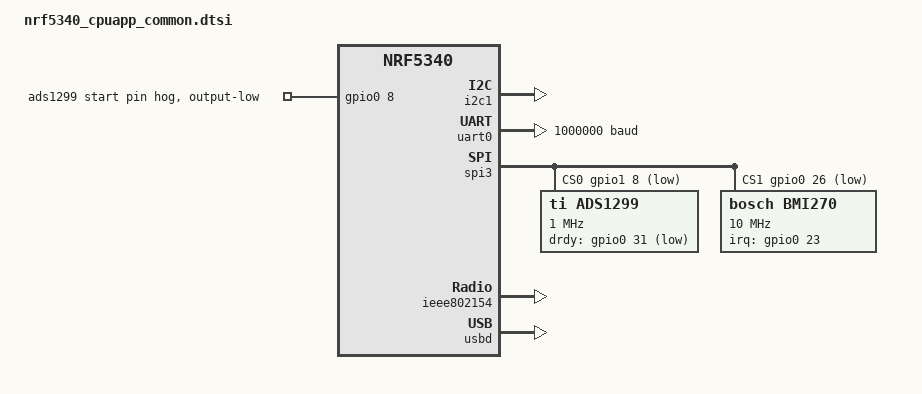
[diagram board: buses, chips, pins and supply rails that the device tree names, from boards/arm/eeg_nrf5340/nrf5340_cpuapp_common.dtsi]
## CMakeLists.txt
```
#
# Copyright (c) 2020 Nordic Semiconductor
#
# SPDX-License-Identifier: LicenseRef-Nordic-5-Clause
#

cmake_minimum_required(VERSION 3.20.0)

# Add the driver directory as a Zephyr module
list(APPEND EXTRA_ZEPHYR_MODULES ${CMAKE_CURRENT_SOURCE_DIR}/ti_ads1299_driver
     ${CMAKE_CURRENT_SOURCE_DIR}/bosch_bmi270_driver)

set(BOARD_ROOT ${CMAKE_SOURCE_DIR})
set(BOARD eeg_nrf5340_cpuapp)

find_package(Zephyr REQUIRED HINTS $ENV{ZEPHYR_BASE})
project(empty_app_core)

file(GLOB app_sources src/*.c)
target_sources(app PRIVATE ${app_sources})
```

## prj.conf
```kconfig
# Copyright (c) 2024 HHS
CONFIG_BT_HCI_IPC=y

# Logger module
CONFIG_LOG=y

# Bluetooth LE
CONFIG_BT=y
CONFIG_BT_PERIPHERAL=y
CONFIG_BT_DEVICE_NAME="EEG_test1"
CONFIG_BT_GATT_CLIENT=y
# Configure your preferred connection parameters
CONFIG_BT_PERIPHERAL_PREF_MIN_INT=800
CONFIG_BT_PERIPHERAL_PREF_MAX_INT=800
CONFIG_BT_PERIPHERAL_PREF_LATENCY=0
CONFIG_BT_PERIPHERAL_PREF_TIMEOUT=400
CONFIG_BT_GAP_AUTO_UPDATE_CONN_PARAMS=y
# Enable PHY updates.
CONFIG_BT_USER_PHY_UPDATE=y
# Update Data Length and MTU
CONFIG_BT_USER_DATA_LEN_UPDATE=y
CONFIG_BT_CTLR_DATA_LENGTH_MAX=251
CONFIG_BT_BUF_ACL_RX_SIZE=251
CONFIG_BT_BUF_ACL_TX_SIZE=251
CONFIG_BT_L2CAP_TX_MTU=247

# Increase stack size for the main thread and System Workqueue
CONFIG_SYSTEM_WORKQUEUE_STACK_SIZE=2048
CONFIG_MAIN_STACK_SIZE=2048
CONFIG_BT_RX_STACK_SIZE=2048

CONFIG_GPIO=y
CONFIG_SPI=y

# Enable the custom driver
CONFIG_TI_ADS1299_DRIVER=y

CONFIG_BOSCH_BMI270_DRIVER=y
CONFIG_BMI270_TRIGGER_OWN_THREAD=y

# Enable application defined syscalls
CONFIG_APPLICATION_DEFINED_SYSCALL=y

CONFIG_EVENTS=y

# Floating Point Unit
CONFIG_NEWLIB_LIBC=y
CONFIG_NEWLIB_LIBC_FLOAT_PRINTF=y
CONFIG_FPU=y
CONFIG_FP_HARDABI=y
CONFIG_CMSIS_DSP=y

CONFIG_RING_BUFFER=y
```

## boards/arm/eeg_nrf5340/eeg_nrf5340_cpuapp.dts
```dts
/*
 * Copyright (c) 2020 Nordic Semiconductor ASA
 *
 * SPDX-License-Identifier: Apache-2.0
 */

/dts-v1/;
#include <nordic/nrf5340_cpuapp_qkaa.dtsi>
#include "nrf5340_cpuapp_common.dtsi"

/ {
	model = "Nordic EEG NRF5340 Application";
	compatible = "nordic,eeg-nrf5340-cpuapp";

	chosen {
		zephyr,sram = &sram0_image;
		zephyr,flash = &flash0;
		zephyr,code-partition = &slot0_partition;
		zephyr,sram-secure-partition = &sram0_s;
		zephyr,sram-non-secure-partition = &sram0_ns;
	};
};
```

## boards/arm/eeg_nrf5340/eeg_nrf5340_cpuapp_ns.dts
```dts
/*
 * Copyright (c) 2020 Nordic Semiconductor ASA
 *
 * SPDX-License-Identifier: Apache-2.0
 */

/dts-v1/;
#include <nordic/nrf5340_cpuappns_qkaa.dtsi>
#include "nrf5340_cpuapp_common.dtsi"

/ {
	model = "Nordic EEG NRF5340 Application";
	compatible = "nordic,eeg-nrf5340-cpuapp";

	chosen {
		zephyr,sram = &sram0_ns;
		zephyr,flash = &flash0;
		zephyr,code-partition = &slot0_ns_partition;
	};
};
```

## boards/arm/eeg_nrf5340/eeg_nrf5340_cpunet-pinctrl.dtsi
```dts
/*
 * Copyright (c) 2022 Nordic Semiconductor
 * SPDX-License-Identifier: Apache-2.0
 */

&pinctrl {
	uart0_default: uart0_default {
		group1 {
			psels = <NRF_PSEL(UART_TX, 1, 14)>,
				    <NRF_PSEL(UART_RTS, 1, 13)>;
		};
	};

	uart0_sleep: uart0_sleep {
		group1 {
			psels = <NRF_PSEL(UART_TX, 1, 14)>,
				    <NRF_PSEL(UART_RTS, 1, 13)>;
			low-power-enable;
		};
	};
};
```

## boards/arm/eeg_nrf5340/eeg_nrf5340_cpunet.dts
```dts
/*
 * Copyright (c) 2020 Nordic Semiconductor ASA
 *
 * SPDX-License-Identifier: Apache-2.0
 */

/dts-v1/;
#include <nordic/nrf5340_cpunet_qkaa.dtsi>
#include "eeg_nrf5340_cpunet-pinctrl.dtsi"
#include <zephyr/dt-bindings/input/input-event-codes.h>

/ {
	model = "Nordic EEG NRF5340 Network";
	compatible = "nordic,eeg-nrf5340-cpunet";

	chosen {
		zephyr,console = &uart0;
		zephyr,shell-uart = &uart0;
		zephyr,uart-mcumgr = &uart0;
		zephyr,bt-mon-uart = &uart0;
		zephyr,bt-c2h-uart = &uart0;
		zephyr,bt-hci-ipc = &ipc0;
		nordic,802154-spinel-ipc = &ipc0;
		zephyr,sram = &sram1;
		zephyr,flash = &flash1;
		zephyr,code-partition = &slot0_partition;
		zephyr,ieee802154 = &ieee802154;
	};

	/* These aliases are provided for compatibility with samples */
	aliases {
		watchdog0 = &wdt0;
	};
};

&gpiote {
	status = "okay";
};

&gpio0 {
	status = "okay";
};

&gpio1 {
	status = "okay";
};

&uart0 {
	status = "disabled";
	current-speed = <115200>;
	pinctrl-0 = <&uart0_default>;
	pinctrl-1 = <&uart0_sleep>;
	pinctrl-names = "default", "sleep";
};

&flash1 {
	partitions {
		compatible = "fixed-partitions";
		#address-cells = <1>;
		#size-cells = <1>;

		boot_partition: partition@0 {
			label = "mcuboot";
			reg = <0x00000000 0xc000>;
		};
		slot0_partition: partition@c000 {
			label = "image-0";
			reg = <0x0000C000 0x17000>;
		};
		slot1_partition: partition@23000 {
			label = "image-1";
			reg = <0x00023000 0x17000>;
		};
		storage_partition: partition@3a000 {
			label = "storage";
			reg = <0x0003a000 0x6000>;
		};
	};
};

&ieee802154 {
	status = "okay";
};

/* Include shared RAM configuration file */
#include "nrf5340_shared_sram_planning_conf.dtsi"
```

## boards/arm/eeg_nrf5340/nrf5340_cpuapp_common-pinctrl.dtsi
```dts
/*
 * Copyright (c) 2022 Nordic Semiconductor
 * SPDX-License-Identifier: Apache-2.0
 */

&pinctrl {
	i2c1_default: i2c1_default {
		group1 {
			psels = <NRF_PSEL(TWIM_SDA, 1, 2)>,
			    	<NRF_PSEL(TWIM_SCL, 1, 3)>;
            bias-pull-up;
		};
	};

	i2c1_sleep: i2c1_sleep {
		group1 {
			psels = <NRF_PSEL(TWIM_SDA, 1, 2)>,
		    		<NRF_PSEL(TWIM_SCL, 1, 3)>;
			low-power-enable;
		};
	};

	uart0_default: uart0_default {
		group1 {
			psels = <NRF_PSEL(UART_TX, 1, 14)>,
				    <NRF_PSEL(UART_RTS, 1, 13)>;
		};
	};

	uart0_sleep: uart0_sleep {
		group1 {
			psels = <NRF_PSEL(UART_TX, 1, 14)>,
				    <NRF_PSEL(UART_RTS, 1, 13)>;
			low-power-enable;
		};
	};

	spi3_default: spi3_default {
		group1 {
			psels = <NRF_PSEL(SPIM_SCK, 0, 14)>,
			    	<NRF_PSEL(SPIM_MISO, 0, 13)>,
			    	<NRF_PSEL(SPIM_MOSI, 0, 10)>;
		};
	};

	spi3_sleep: spi3_sleep {
		group1 {
			psels = <NRF_PSEL(SPIM_SCK, 0, 14)>,
			    	<NRF_PSEL(SPIM_MISO, 0, 13)>,
			    	<NRF_PSEL(SPIM_MOSI, 0, 10)>;
			low-power-enable;
		};
	};
};
```

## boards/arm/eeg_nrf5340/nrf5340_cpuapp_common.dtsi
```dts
/*
 * Copyright (c) 2019-2020 Nordic Semiconductor ASA
 *
 * SPDX-License-Identifier: Apache-2.0
 */
#include "nrf5340_cpuapp_common-pinctrl.dtsi"
#include <zephyr/dt-bindings/input/input-event-codes.h>

/ {
	chosen {
		zephyr,console = &uart0;
		zephyr,shell-uart = &uart0;
		zephyr,uart-mcumgr = &uart0;
		zephyr,bt-mon-uart = &uart0;
		zephyr,bt-c2h-uart = &uart0;
		zephyr,bt-hci-ipc = &ipc0;
		nordic,802154-spinel-ipc = &ipc0;
		zephyr,ieee802154 = &ieee802154;
	};

	/* These aliases are provided for compatibility with samples */
	aliases {
		watchdog0 = &wdt0;
	};
};


&gpiote {
	status = "okay";
};

&gpio0 {
	status = "okay";

	ads1299-start {
		gpio-hog;
		gpios = <8 GPIO_ACTIVE_HIGH>;
		output-low;
		line-name = "ads1299 start pin";
	};
};

&gpio1 {
	status = "okay";
};

&i2c1 {
	compatible = "nordic,nrf-twim";
	status = "okay";
	pinctrl-0 = <&i2c1_default>;
	pinctrl-1 = <&i2c1_sleep>;
	pinctrl-names = "default", "sleep";
};

&uart0 {
	status = "okay";
	// current-speed = <115200>;
    current-speed = <1000000>;
	pinctrl-0 = <&uart0_default>;
	pinctrl-1 = <&uart0_sleep>;
	pinctrl-names = "default", "sleep";
};

&spi3 {
	compatible = "nordic,nrf-spim";
	status = "okay";
	pinctrl-0 = <&spi3_default>;
	pinctrl-1 = <&spi3_sleep>;
	pinctrl-names = "default", "sleep";
	cs-gpios = <&gpio1 8 GPIO_ACTIVE_LOW>,
            <&gpio0 26 GPIO_ACTIVE_LOW>;

	ads1299: ads1299@0 {
		compatible = "ti,ads1299";
		spi-max-frequency = <DT_FREQ_M(1)>;
		reg = <0>;
        drdy-gpios = <&gpio0 31 GPIO_ACTIVE_LOW>;
	};

	bmi270: bmi270@1 {
		compatible = "bosch,bmi270";
		spi-max-frequency = <DT_FREQ_M(10)>;
		reg = <1>;
        irq-gpios = <&gpio0 23 GPIO_ACTIVE_HIGH>;
	};
};

&flash0 {
	partitions {
		compatible = "fixed-partitions";
		#address-cells = <1>;
		#size-cells = <1>;

		boot_partition: partition@0 {
			label = "mcuboot";
			reg = <0x00000000 0x00010000>;
		};
		slot0_partition: partition@10000 {
			label = "image-0";
		};
		slot0_ns_partition: partition@50000 {
			label = "image-0-nonsecure";
		};
		slot1_partition: partition@80000 {
			label = "image-1";
		};
		slot1_ns_partition: partition@c0000 {
			label = "image-1-nonsecure";
		};
		/* 0xf0000 to 0xf7fff reserved for TF-M partitions */
		storage_partition: partition@f8000 {
			label = "storage";
			reg = <0x000f8000 0x00008000>;
		};
	};
};

&ieee802154 {
	status = "okay";
};

zephyr_udc0: &usbd {
	compatible = "nordic,nrf-usbd";
	status = "okay";
};

/ {
	reserved-memory {
		#address-cells = <1>;
		#size-cells = <1>;
		ranges;

		sram0_image: image@20000000 {
			/* Zephyr image(s) memory */
		};

		sram0_s: image_s@20000000 {
			/* Secure image memory */
		};

		sram0_ns: image_ns@20040000 {
			/* Non-Secure image memory */
		};
	};
};

/* Include partition configuration file */
#include "nrf5340_cpuapp_partition_conf.dtsi"
```

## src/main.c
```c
#include <zephyr/kernel.h>
#include <zephyr/logging/log.h>

LOG_MODULE_REGISTER(MAIN, CONFIG_APP_LOG_LEVEL);

int main(void)
{
	LOG_INF("Hello Main");
	return 0;
}
```

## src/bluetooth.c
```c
/**
 * @file src/bluetooth.c
 *
 * @brief Bluetooth functionality for a gas sensor device.
 *
 * This file contains the implementation of Bluetooth functionality for a gas
 * sensor device. It includes Bluetooth stack initialization, advertising,
 * handling connection events, updating connection parameters, and sending gas
 * sensor data via Bluetooth notifications.
 *
 * @author bradkim06@gmail.com
 */
#include "bluetooth.h"
#include "eeg.h"

#include <zephyr/kernel.h>
#include <zephyr/bluetooth/addr.h>
#include <zephyr/bluetooth/bluetooth.h>
#include <zephyr/bluetooth/conn.h>
#include <zephyr/bluetooth/gap.h>
#include <zephyr/bluetooth/gatt.h>
#include <zephyr/bluetooth/hci.h>
#include <zephyr/bluetooth/uuid.h>
#include <zephyr/logging/log.h>

/* Structure for generating a BLE notify event (kernel API). */
struct k_event bt_event;

/* Registers the HHS_BT module with the specified log level. */
LOG_MODULE_REGISTER(HHS_BT, CONFIG_APP_LOG_LEVEL);

/* ble advertising name */
#define DEVICE_NAME CONFIG_BT_DEVICE_NAME
#define DEVICE_NAME_LEN (sizeof(DEVICE_NAME) - 1)

/**
 * Bluetooth advertisement data structure.
 *
 * This structure defines the Bluetooth advertisement data format,
 * including flags, device name, and other information.
 */
static const struct bt_data ad[] = {
	/* Set the flags for the advertisement data */
	BT_DATA_BYTES(BT_DATA_FLAGS, (BT_LE_AD_GENERAL | BT_LE_AD_NO_BREDR)),
	/* Set the device name for the advertisement data */
	BT_DATA(BT_DATA_NAME_COMPLETE, DEVICE_NAME, DEVICE_NAME_LEN),
};

/*
 * This is a static constant structure that contains the Bluetooth data.
 * It is used to define the Bluetooth data bytes and the UUID value.
 */
static const struct bt_data sd[] = {
	// Defines the Bluetooth data bytes and the UUID value.
	BT_DATA_BYTES(BT_DATA_UUID128_ALL, BT_UUID_HHS_VAL),
};

/* Representing a connection to a remote device (kernel API). */
struct bt_conn *my_conn = NULL;

/**
 * Update the Bluetooth connection's PHY (Physical Layer).
 *
 * This function updates the PHY parameters of a Bluetooth connection. It
 * specifies the preferred PHY options, including reception and transmission PHY
 * types. If the update fails, it logs an error.
 *
 * @param conn The Bluetooth connection to update.
 */
static void update_phy(struct bt_conn *conn)
{
	int err;

	/* Set the preferred physical layer options */
	const struct bt_conn_le_phy_param preferred_phy = {
		.options = BT_CONN_LE_PHY_OPT_NONE,
		.pref_rx_phy = BT_GAP_LE_PHY_2M,
		.pref_tx_phy = BT_GAP_LE_PHY_2M,
	};

	/* Update the physical layer of the connection */
	err = bt_conn_le_phy_update(conn, &preferred_phy);

	/* Check for errors and log if necessary */
	if (err) {
		LOG_ERR("bt_conn_le_phy_update() returned %d", err);
		return;
	}
}

/*
 * Function: update_data_length
 * Description: This function updates the data length of the given connection.
 * Parameters:
 * 		conn - pointer to the connection to be updated
 * Return: None
 */
static void update_data_length(struct bt_conn *conn)
{
	int err;
	/* Define the data length parameters */
	struct bt_conn_le_data_len_param my_data_len = {
		.tx_max_len = BT_GAP_DATA_LEN_MAX,
		.tx_max_time = BT_GAP_DATA_TIME_MAX,
	};

	/* Update the data length of the connection */
	err = bt_conn_le_data_len_update(my_conn, &my_data_len);

	/* Check for errors */
	if (err) {
		LOG_ERR("data_len_update failed (err %d)", err);
	}
}

/* Implement callback function for MTU exchange */
static void exchange_func(struct bt_conn *conn, uint8_t att_err,
			  struct bt_gatt_exchange_params *params)
{
	LOG_INF("MTU exchange %s", att_err == 0 ? "successful" : "failed");
	if (!att_err) {
		uint16_t payload_mtu = bt_gatt_get_mtu(conn) -
				       3; // 3 bytes used for Attribute headers.
		LOG_INF("New MTU: %d bytes", payload_mtu);
	}
}

/**
 * @brief Update the Maximum Transmission Unit (MTU) for the Bluetooth
 * connection.
 *
 * This function initiates an MTU exchange with a Bluetooth connection. It sets
 * up the callback function for handling MTU negotiation. If the exchange fails,
 * it logs an error message.
 *
 * @param conn The Bluetooth connection to update the MTU for.
 */
static void update_mtu(struct bt_conn *conn)
{
	/* Create variable that holds callback for MTU negotiation */
	static struct bt_gatt_exchange_params exchange_params;

	/* Set the callback function for handling MTU negotiation */
	exchange_params.func = exchange_func;

	/* Initiate MTU exchange with the given Bluetooth connection */
	int err = bt_gatt_exchange_mtu(conn, &exchange_params);

	/* Check if the exchange was successful */
	if (err) {
		/* Log an error message if the exchange failed */
		LOG_ERR("bt_gatt_exchange_mtu failed (err %d)", err);
	}
}

/**
 * Callback function for handling Bluetooth connection events when a device is
 * successfully connected.
 *
 * This function is called when a Bluetooth connection is successfully
 * established. It logs the successful connection, retrieves and logs the
 * connection parameters such as connection interval, latency, and supervision
 * timeout, updates the PHY mode, and negotiates the data length and MTU.
 *
 * @param conn The Bluetooth connection.
 * @param err The error code (0 for successful connection).
 */
static void on_connected(struct bt_conn *conn, uint8_t err)
{
	// Check if connection was successful
	if (err) {
		LOG_ERR("Connection failed (err %u)", err);
		return;
	}

	// Log successful connection
	LOG_INF("Connected");

	// Store connection in global variable
	my_conn = bt_conn_ref(conn);

	// Declare a structure to store the connection parameters
	struct bt_conn_info info;

	// Retrieve connection parameters
	err = bt_conn_get_info(conn, &info);

	// Check if retrieval was successful
	if (err) {
		LOG_ERR("bt_conn_get_info() returned %d", err);
		return;
	}

	// Calculate connection interval in milliseconds
	double connection_interval = info.le.interval * 1.25;

	// Calculate supervision timeout in milliseconds
	uint16_t supervision_timeout = info.le.timeout * 10;

	// Log connection parameters
	LOG_INF("Connection parameters: interval %.2f ms, latency %d intervals, "
		"timeout %d ms",
		connection_interval, info.le.latency, supervision_timeout);

	// Update the PHY mode
	update_phy(my_conn);

	// Update the data length and MTU
	update_data_length(my_conn);
	update_mtu(my_conn);
}

/**
 * Callback function for handling Bluetooth disconnection events.
 *
 * This function is called when a Bluetooth connection is disconnected. It logs
 * the disconnection along with the reason for the disconnection and releases
 * the reference to the connection object.
 *
 * @param conn   The Bluetooth connection that was disconnected.
 * @param reason The reason for the disconnection.
 */
static void on_disconnected(struct bt_conn *conn, uint8_t reason)
{
	LOG_INF("Disconnected (reason %u)", reason);
	bt_conn_unref(my_conn);
}

/**
 * Callback function for handling Bluetooth Low Energy (LE) parameter updates.
 *
 * This function is called when the connection parameters for a Bluetooth LE
 * connection are updated. It logs the updated parameters, including the
 * connection interval, latency, and supervision timeout.
 *
 * @param conn      The Bluetooth connection for which the parameters were
 * updated.
 * @param interval  The updated connection interval.
 * @param latency   The updated latency.
 * @param timeout   The updated supervision timeout.
 */
void on_le_param_updated(struct bt_conn *conn, uint16_t interval,
			 uint16_t latency, uint16_t timeout)
{
	double connection_interval = interval * 1.25; // in ms
	uint16_t supervision_timeout = timeout * 10; // in ms
	LOG_INF("Connection parameters updated: interval %.2f ms, latency %d "
		"intervals, timeout %d "
		"ms",
		connection_interval, latency, supervision_timeout);
}

/* Write a callback function to inform about updates in the PHY */
void on_le_phy_updated(struct bt_conn *conn, struct bt_conn_le_phy_info *param)
{
	// PHY Updated
	if (param->tx_phy == BT_CONN_LE_TX_POWER_PHY_1M) {
		LOG_INF("PHY updated. New PHY: 1M");
	} else if (param->tx_phy == BT_CONN_LE_TX_POWER_PHY_2M) {
		LOG_INF("PHY updated. New PHY: 2M");
	} else if (param->tx_phy == BT_CONN_LE_TX_POWER_PHY_CODED_S8) {
		LOG_INF("PHY updated. New PHY: Long Range");
	}
}

/* Write a callback function to inform about updates in data length */
void on_le_data_len_updated(struct bt_conn *conn,
			    struct bt_conn_le_data_len_info *info)
{
	uint16_t tx_len = info->tx_max_len;
	uint16_t tx_time = info->tx_max_time;
	uint16_t rx_len = info->rx_max_len;
	uint16_t rx_time = info->rx_max_time;
	LOG_INF("Data length updated. Length %d/%d bytes, time %d/%d us",
		tx_len, rx_len, tx_time, rx_time);
}

struct bt_conn_cb connection_callbacks = {
	/* callback for ble successfully connected */
	.connected = on_connected,
	/* callback for ble successfully disconnected */
	.disconnected = on_disconnected,
	/* callback for connection parameter updates */
	.le_param_updated = on_le_param_updated,
	/* callback for PHY mode updates */
	.le_phy_updated = on_le_phy_updated,
	/* callback for data length updates */
	.le_data_len_updated = on_le_data_len_updated,
};

/**
 * Initialize and configure Bluetooth functionality.
 *
 * This function sets up the Bluetooth stack, configures advertising parameters,
 * and starts advertising. It also registers connection callbacks for handling
 * Bluetooth connection events.
 *
 * @return 0 on success, or a negative error code on failure.
 */
int bt_setup(void)
{
	int err;

	err = bt_enable(NULL);
	if (err) {
		LOG_ERR("Bluetooth init failed (err %d)", err);
		return err;
	}
	bt_conn_cb_register(&connection_callbacks);

	LOG_INF("Bluetooth initialized");

	struct bt_le_adv_param *adv_param = BT_LE_ADV_PARAM(
		(BT_LE_ADV_OPT_CONNECTABLE |
		 BT_LE_ADV_OPT_USE_IDENTITY), /* Connectable advertising and use
                                         identity address */
		3200, /* Min Advertising Interval 500ms (800*0.625ms) */
		3201, /* Max Advertising Interval 2000ms (3200*0.625ms) */
		NULL); /* Set to NULL for undirected advertising */

	err = bt_le_adv_start(adv_param, ad, ARRAY_SIZE(ad), sd,
			      ARRAY_SIZE(sd));
	if (err) {
		LOG_ERR("Advertising failed to start (err %d)", err);
		return err;
	}

	LOG_INF("Advertising successfully started");

	k_event_init(&bt_event);

	return 0;
}

SYS_INIT(bt_setup, APPLICATION, CONFIG_APPLICATION_INIT_PRIORITY);

/* Flag for transmitting only when notify is enabled. */
static bool bt_notify_enable = false;

/**
 * @brief Callback function for Gas Sensor CCC (Client Characteristic Configuration) changes.
 *
 * This function is invoked when the CCC descriptor of the Gas Sensor characteristic is modified
 * on the client side. It updates the notify_gas_enabled flag and posts a BLE_NOTIFY_EN event
 * if notifications are enabled.
 *
 * @param attr The BT GATT attribute that has been changed.
 * @param value The new value of the CCC descriptor.
 */
static void mylbsbc_ccc_gas_cfg_changed(const struct bt_gatt_attr *attr,
					uint16_t value)
{
	/* Update the notify_gas_enabled flag */
	bt_notify_enable = (value == BT_GATT_CCC_NOTIFY);

	/* Log the change in the CCC descriptor */
	LOG_INF("notify cfg changed %d", bt_notify_enable);
}

// Define a function to handle BLE (Bluetooth Low Energy) write operations.
// This function is called when a BLE client writes to a characteristic on the BLE server.
/**
 * @brief GATT write callback in a Bluetooth stack
 *
 * @param conn A pointer to the BLE connection structure.
 * @param attr A pointer to the GATT attribute that is being written to.
 * @param buf A pointer to the buffer containing the data to be written.
 * @param len The length of the data in the buffer.
 * @param offset The offset at which the data should be written (used for long writes).
 * @param flags Flags for the write operation (not used in this snippet).
 * @return the length of the data written if the write operation is successful.
 */
static ssize_t write_ble(struct bt_conn *conn, const struct bt_gatt_attr *attr,
			 const void *buf, uint16_t len, uint16_t offset,
			 uint8_t flags)
{
	// Log a debug message with the attribute handle and the connection pointer.
	LOG_DBG("Attribute write, handle: %u, conn: %p", attr->handle,
		(void *)conn);

	// Return the number of bytes written to indicate success.
	return len;
}

/* Service Declaration */
BT_GATT_SERVICE_DEFINE(
	bt_hhs_svc, BT_GATT_PRIMARY_SERVICE(BT_UUID_HHS),
	BT_GATT_CHARACTERISTIC(BT_UUID_HHS_WRITE, BT_GATT_CHRC_WRITE,
			       BT_GATT_PERM_WRITE, NULL, write_ble, NULL),
	BT_GATT_CHARACTERISTIC(BT_UUID_HHS_NOTI, BT_GATT_CHRC_NOTIFY,
			       BT_GATT_PERM_NONE, NULL, NULL, NULL),
	BT_GATT_CCC(mylbsbc_ccc_gas_cfg_changed,
		    BT_GATT_PERM_READ | BT_GATT_PERM_WRITE));

static int bt_notify(char *data)
{
	uint8_t data_length = 3;
	LOG_HEXDUMP_INF(data, data_length, "notify");

	return bt_gatt_notify(NULL, &bt_hhs_svc.attrs[4], (void *)data,
			      (size_t)data_length);
}

extern uint8_t data[15];

/**
 * @brief Bluetooth thread function.
 *
 * This function is the entry point for the Bluetooth thread. It initializes the Bluetooth stack,
 * starts advertising, and handles Bluetooth notifications. It also converts the firmware build time
 * to the time_t format for adding it to the current kernel time (k_uptime_get()). It periodically
 * sends notifications if a client is subscribed and gas sensor data is available. The function
 * constructs the notification data, including gas sensor values, battery percentage, and, if
 * enabled, environmental sensor data (temperature, pressure, humidity, IAQ, eCO2, and breath VOC).
 *
 * @note The function sends notifications only if a client is subscribed.
 */
static void bluetooth_thread(void)
{
	while (1) {
		k_msleep(1000);
		// uint32_t bluetooth_events =
		// 	k_event_wait(&bt_event, bt_tx_event_sum, true,
		// 		     K_SECONDS(TIMEOUT_SEC));
		//
		// /* Check if gas notification is enabled */
		// if (!bt_notify_enable) {
		// 	continue;
		// }
		//
		// bt_notify(&data[3]);
	}
}

#define STACKSIZE 2048
#define PRIORITY 0
K_THREAD_DEFINE(bt_thread_id, STACKSIZE, bluetooth_thread, NULL, NULL, NULL,
		PRIORITY, 0, 0);
```

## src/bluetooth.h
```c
#ifndef __APP_BT_H__
#define __APP_BT_H__

#include <stdbool.h>

#include "hhs_util.h"

/** @brief LBS Service UUID. */
#define BT_UUID_HHS_VAL \
	BT_UUID_128_ENCODE(0x0000FFF0, 0x0000, 0x1000, 0x8000, 0x00805F9B34FB)
/** @brief Notify Characteristic UUID. */
#define BT_UUID_HHS_NOTI_VAL \
	BT_UUID_128_ENCODE(0x0000FFF1, 0x0000, 0x1000, 0x8000, 0x00805F9B34FB)
/** @brief Write Characteristic UUID. */
#define BT_UUID_HHS_WRITE_VAL \
	BT_UUID_128_ENCODE(0x0000FFF2, 0x0000, 0x1000, 0x8000, 0x00805F9B34FB)

#define BT_UUID_HHS BT_UUID_DECLARE_128(BT_UUID_HHS_VAL)
#define BT_UUID_HHS_NOTI BT_UUID_DECLARE_128(BT_UUID_HHS_NOTI_VAL)
#define BT_UUID_HHS_WRITE BT_UUID_DECLARE_128(BT_UUID_HHS_WRITE_VAL)

/** Product : 10sec **/
#define TIMEOUT_SEC 10

/* Define a list of Bluetooth events with their corresponding values. */
#define BT_EVENT_LIST(X)                                               \
	/* event wait timeout(TIMEOUT_SEC) */                          \
	X(TIMEOUT, = 0x01)                                             \
	/* event ble notify enabled */                                 \
	X(BLE_NOTIFY_EN, = 0x02)                                       \
	/* event gas sensor value exceeding the threshold(O2_THRES) */ \
	X(GAS_VAL_CHANGE, = 0x04)                                      \
	/* event iaq value exceeding the threshold(IAQ_VAL_THRESH) */  \
	X(IAQ_VAL_THRESH, = 0x08)                                      \
	/* event voc value exceeding the threshold(VOC_VAL_THRESH) */  \
	X(VOC_VAL_THRESH, = 0x10)                                      \
	/* event co2 value exceeding the threshold(CO2_VAL_THRESH) */  \
	X(CO2_VAL_THRESH, = 0x20)
DECLARE_ENUM(bt_tx_event, BT_EVENT_LIST)

extern struct k_event bt_event;

int bt_setup(void);

#endif // __APP_BT_H__
```

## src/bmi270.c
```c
#include <zephyr/kernel.h>
#include <zephyr/device.h>
#include <zephyr/drivers/sensor.h>
#include <zephyr/logging/log.h>

LOG_MODULE_REGISTER(BMI270, CONFIG_APP_LOG_LEVEL);

#define BMI270_NODE DT_NODELABEL(bmi270)

static const struct device *bmi270_dev = DEVICE_DT_GET(BMI270_NODE);
static struct k_sem data_ready_sem;

static void bmi270_trigger_handler(const struct device *bmi270_dev,
				   const struct sensor_trigger *trig)
{
	k_sem_give(&data_ready_sem);
}

void bmi270_thread(void)
{
	int ret;
	struct sensor_value accel[3], gyro[3];
	struct sensor_value full_scale, sampling_freq, oversampling;

	if (!device_is_ready(bmi270_dev)) {
		LOG_ERR("BMI270 device not ready\n");
		return;
	}

	/* Setting scale in G, due to loss of precision if the SI unit m/s^2
	 * is used
	 */
	full_scale.val1 = 2; /* G */
	full_scale.val2 = 0;
	/* NOTE: See Detail frequency range (P.32) */
	sampling_freq.val1 = 100; /* Hz. Performance mode */
	sampling_freq.val2 = 0;
	oversampling.val1 = 1; /* Normal mode */
	oversampling.val2 = 0;

	sensor_attr_set(bmi270_dev, SENSOR_CHAN_ACCEL_XYZ,
			SENSOR_ATTR_FULL_SCALE, &full_scale);
	sensor_attr_set(bmi270_dev, SENSOR_CHAN_ACCEL_XYZ,
			SENSOR_ATTR_OVERSAMPLING, &oversampling);
	/* Set sampling frequency last as this also sets the appropriate
	 * power mode. If already sampling, change to 0.0Hz before changing
	 * other attributes
	 */
	sensor_attr_set(bmi270_dev, SENSOR_CHAN_ACCEL_XYZ,
			SENSOR_ATTR_SAMPLING_FREQUENCY, &sampling_freq);

	/* Setting scale in degrees/s to match the sensor scale */
	full_scale.val1 = 500; /* dps */
	full_scale.val2 = 0;
	sampling_freq.val1 = 100; /* Hz. Performance mode */
	sampling_freq.val2 = 0;
	oversampling.val1 = 1; /* Normal mode */
	oversampling.val2 = 0;

	sensor_attr_set(bmi270_dev, SENSOR_CHAN_GYRO_XYZ,
			SENSOR_ATTR_FULL_SCALE, &full_scale);
	sensor_attr_set(bmi270_dev, SENSOR_CHAN_GYRO_XYZ,
			SENSOR_ATTR_OVERSAMPLING, &oversampling);
	/* Set sampling frequency last as this also sets the appropriate
	 * power mode. If already sampling, change sampling frequency to
	 * 0.0Hz before changing other attributes
	 */
	sensor_attr_set(bmi270_dev, SENSOR_CHAN_GYRO_XYZ,
			SENSOR_ATTR_SAMPLING_FREQUENCY, &sampling_freq);

	k_sem_init(&data_ready_sem, 0, 1);

	// Configure interrupt
	struct sensor_trigger trig = {
		.type = SENSOR_TRIG_DATA_READY,
		.chan = SENSOR_CHAN_ALL,
	};
	ret = sensor_trigger_set(bmi270_dev, &trig, bmi270_trigger_handler);
	if (ret != 0) {
		printk("Failed to set trigger: %d\n", ret);
		return;
	}

	while (1) {
		k_sem_take(&data_ready_sem, K_FOREVER);

		ret = sensor_sample_fetch(bmi270_dev);
		if (ret != 0) {
			LOG_ERR("Failed to fetch sample: %d\n", ret);
			continue;
		}

		sensor_channel_get(bmi270_dev, SENSOR_CHAN_ACCEL_XYZ, accel);
		sensor_channel_get(bmi270_dev, SENSOR_CHAN_GYRO_XYZ, gyro);

		// Process and print data
		LOG_INF("AX: %d.%06d; AY: %d.%06d; AZ: %d.%06d; "
			"GX: %d.%06d; GY: %d.%06d; GZ: %d.%06d;",
			accel[0].val1, accel[0].val2, accel[1].val1,
			accel[1].val2, accel[2].val1, accel[2].val2,
			gyro[0].val1, gyro[0].val2, gyro[1].val1, gyro[1].val2,
			gyro[2].val1, gyro[2].val2);
	}
}

#define BMI270_STACKSIZE 2048
#define BMI270_PRIORITY 2
K_THREAD_DEFINE(bmi270_thread_id, BMI270_STACKSIZE, bmi270_thread, NULL, NULL,
		NULL, BMI270_PRIORITY, 0, 0);
```

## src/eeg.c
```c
#include "ti_ads1299_driver_spi.h"
#include "eeg.h"
#include "filter.h"

#include <stdio.h>
#include <zephyr/kernel.h>
#include <zephyr/device.h>
#include <zephyr/devicetree.h>
#include <zephyr/drivers/spi.h>
#include <zephyr/logging/log.h>
#include <zephyr/sys/ring_buffer.h>

#define ADS1299_NODE DT_NODELABEL(ads1299)

LOG_MODULE_REGISTER(EEG, CONFIG_APP_LOG_LEVEL);

// ADS1299 관련 상수
const float VREF = 4.5f; // 기준 전압 (V)
const int GAIN = 24; // PGA 게인
const int RESOLUTION = 24; // ADC 해상도 (비트)

const struct device *ads1299_spi_dev = DEVICE_DT_GET(DT_NODELABEL(ads1299));

static K_SEM_DEFINE(drdy_sem, 0, 1);
static struct gpio_callback drdy_cb_data;

#define DATA_SIZE 15
#define RING_BUF_SIZE 1024

static uint8_t ring_buffer_data[RING_BUF_SIZE];
static struct ring_buf ring_buf;

K_SEM_DEFINE(data_ready_sem, 0, 1);

// DRDY 인터럽트 핸들러
static void drdy_handler(const struct device *dev, struct gpio_callback *cb,
			 uint32_t pins)
{
	k_sem_give(&drdy_sem);
}

static int ads1299_init(void)
{
	const struct device *drdy_gpio_dev;
	int ret;

	// DRDY GPIO 디바이스 가져오기
	drdy_gpio_dev = DEVICE_DT_GET(DT_GPIO_CTLR(ADS1299_NODE, drdy_gpios));
	if (!device_is_ready(drdy_gpio_dev)) {
		LOG_ERR("DRDY GPIO device not ready");
		return -ENODEV;
	}

	// DRDY 핀을 입력으로 구성
	ret = gpio_pin_configure(
		drdy_gpio_dev, DT_GPIO_PIN(ADS1299_NODE, drdy_gpios),
		GPIO_INPUT | DT_GPIO_FLAGS(ADS1299_NODE, drdy_gpios));
	if (ret != 0) {
		LOG_ERR("Error configuring DRDY pin: %d", ret);
		return ret;
	}

	// DRDY 인터럽트 설정
	ret = gpio_pin_interrupt_configure(
		drdy_gpio_dev, DT_GPIO_PIN(ADS1299_NODE, drdy_gpios),
		GPIO_INT_EDGE_FALLING);
	if (ret != 0) {
		LOG_ERR("Error configuring DRDY interrupt: %d", ret);
		return ret;
	}

	// 콜백 초기화 및 추가
	gpio_init_callback(&drdy_cb_data, drdy_handler,
			   BIT(DT_GPIO_PIN(ADS1299_NODE, drdy_gpios)));
	ret = gpio_add_callback(drdy_gpio_dev, &drdy_cb_data);
	if (ret != 0) {
		LOG_ERR("Error adding DRDY callback: %d", ret);
		return ret;
	}

	LOG_INF("ADS1299 DRDY interrupt initialized");
	return 0;
}

// float32_t adc_to_voltage(int32_t adc_code)
// {
//
// 	// 2의 보수 형태의 ADC 코드를 부호 있는 정수로 변환
// 	if (adc_code > 0x7FFFFF) {
// 		adc_code -= 0x1000000;
// 	}
//
// 	// 전압 계산 (오버플로우 방지를 위해 순서 조정)
// 	float32_t voltage = ((float32_t)adc_code * VREF) / (float32_t)GAIN;
// 	voltage /= (float32_t)(1 << (RESOLUTION - 1));
//
// 	return voltage;
// }

// ADS1299에서 읽은 24비트 ADC 값을 실제 전압으로 변환하는 함수
float32_t adc_to_voltage(int32_t adc_value)
{
	// ADC 값이 24비트 2의 보수 형식이므로, 부호 확장
	if (adc_value & 0x800000) {
		adc_value |= 0xFF000000;
	}

	// ADC 값을 전압으로 변환
	float32_t voltage =
		(float32_t)adc_value * (2 * VREF) / (pow(2, 23) - 1) / GAIN;

	return voltage;
}

void process_and_print_data(const uint8_t *data, size_t size)
{
	float32_t voltage[2] = { 0.0 };
	for (int channel = 0; channel < 2; channel++) {
		int32_t value = (data[3 * channel + 3] << 16) |
				(data[3 * channel + 4] << 8) |
				data[3 * channel + 5];

		float32_t volt = adc_to_voltage(value);
		voltage[channel] = filteringEEGData(volt, channel);
	}

	printk("%f\n", voltage[0]);
}

static void data_processing_thread(void *arg1, void *arg2, void *arg3)
{
	uint8_t data[DATA_SIZE];

	while (1) {
		k_sem_take(&data_ready_sem, K_FOREVER);

		while (ring_buf_get(&ring_buf, data, DATA_SIZE) == DATA_SIZE) {
			process_and_print_data(data, DATA_SIZE);
		}
	}
}

static void eeg_thread(void)
{
	int err = device_is_ready(ads1299_spi_dev);
	if (!err) {
		LOG_ERR("Error: SPI device is not ready, err: %d", err);
		return;
	}

	ads1299_init();
	ring_buf_init(&ring_buf, sizeof(ring_buffer_data), ring_buffer_data);

#define START 0x08
#define RDATAC 0x10
	ti_ads1299_command(ads1299_spi_dev, START);
	ti_ads1299_command(ads1299_spi_dev, RDATAC);

	uint8_t data[DATA_SIZE];

	while (1) {
		k_sem_take(&drdy_sem, K_FOREVER);
		if (ti_ads1299_read_data(ads1299_spi_dev, data, sizeof(data)) ==
		    0) {
			uint32_t bytes_written =
				ring_buf_put(&ring_buf, data, DATA_SIZE);
			if (bytes_written != DATA_SIZE) {
				LOG_WRN("Ring buffer full, data lost");
			}
			k_sem_give(&data_ready_sem);
		} else {
			LOG_ERR("Error reading data from ADS1299");
		}
	}
}

#define EEG_STACKSIZE 2048
#define EEG_PRIORITY 0
K_THREAD_DEFINE(eeg_thread_id, EEG_STACKSIZE, eeg_thread, NULL, NULL, NULL,
		EEG_PRIORITY, 0, 0);

#define PROCESSING_STACKSIZE 2048
#define PROCESSING_PRIORITY 1
K_THREAD_DEFINE(processing_thread_id, PROCESSING_STACKSIZE,
		data_processing_thread, NULL, NULL, NULL, PROCESSING_PRIORITY,
		0, 0);
```

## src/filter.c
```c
#include "filter.h"

#define BLOCK_SIZE 1
#define HIGHPASS_FILTER_ORDER 401 // Reduced order for each filter
#define LOWPASS_FILTER_ORDER 401 // Reduced order for each filter
#define HIGHPASS_FILTER_LEN (HIGHPASS_FILTER_ORDER + 1)
#define LOWPASS_FILTER_LEN (LOWPASS_FILTER_ORDER + 1)
#define SAMPLING_RATE 250
#define HIGH_CUTOFF 2.0f
#define LOW_CUTOFF 40.0f

#define ADS1299_CHANNELS 2

// FIR filter instances
arm_fir_instance_f32 hp_instance;
arm_fir_instance_f32 lp_instance;

// Filter coefficients and state buffers
static float32_t hp_coeffs[HIGHPASS_FILTER_LEN];
static float32_t lp_coeffs[LOWPASS_FILTER_LEN];
static float32_t hp_state[ADS1299_CHANNELS]
			 [BLOCK_SIZE + HIGHPASS_FILTER_LEN - 1];
static float32_t lp_state[ADS1299_CHANNELS][BLOCK_SIZE + LOWPASS_FILTER_LEN - 1];

void calculate_hp_coeffs(float32_t *coeffs, uint16_t order, float32_t cutoff,
			 float32_t sampling_rate)
{
	float32_t fc = cutoff / sampling_rate;

	for (int n = 0; n <= order; n++) {
		if (n == order / 2) {
			coeffs[n] = 1.0f - 2.0f * fc;
		} else {
			float32_t nm = (float32_t)n - (float32_t)order / 2.0f;
			coeffs[n] =
				-arm_sin_f32(2.0f * PI * fc * nm) / (PI * nm);
		}
		// Apply Blackman window
		coeffs[n] *= (0.42f -
			      0.5f * arm_cos_f32(2.0f * PI * (float32_t)n /
						 (float32_t)order) +
			      0.08f * arm_cos_f32(4.0f * PI * (float32_t)n /
						  (float32_t)order));
	}

	// Normalize coefficients
	float32_t sum = 0.0f;
	for (int n = 0; n <= order; n++) {
		sum += coeffs[n];
	}
	for (int n = 0; n <= order; n++) {
		coeffs[n] /= sum;
	}
}

void calculate_lp_coeffs(float32_t *coeffs, uint16_t order, float32_t cutoff,
			 float32_t sampling_rate)
{
	float32_t fc = cutoff / sampling_rate;

	for (int n = 0; n <= order; n++) {
		if (n == order / 2) {
			coeffs[n] = 2.0f * fc;
		} else {
			float32_t nm = (float32_t)n - (float32_t)order / 2.0f;
			coeffs[n] =
				arm_sin_f32(2.0f * PI * fc * nm) / (PI * nm);
		}
		// Apply Blackman window
		coeffs[n] *= (0.42f -
			      0.5f * arm_cos_f32(2.0f * PI * (float32_t)n /
						 (float32_t)order) +
			      0.08f * arm_cos_f32(4.0f * PI * (float32_t)n /
						  (float32_t)order));
	}

	// Normalize coefficients
	float32_t sum = 0.0f;
	for (int n = 0; n <= order; n++) {
		sum += coeffs[n];
	}
	for (int n = 0; n <= order; n++) {
		coeffs[n] /= sum;
	}
}

int initFilters(void)
{
	// Calculate highpass filter coefficients
	calculate_hp_coeffs(hp_coeffs, HIGHPASS_FILTER_ORDER, HIGH_CUTOFF,
			    SAMPLING_RATE);

	// Calculate lowpass filter coefficients
	calculate_lp_coeffs(lp_coeffs, LOWPASS_FILTER_ORDER, LOW_CUTOFF,
			    SAMPLING_RATE);

	// Initialize highpass and lowpass filters for each channel
	for (int i = 0; i < ADS1299_CHANNELS; i++) {
		arm_fir_init_f32(&hp_instance, HIGHPASS_FILTER_LEN, hp_coeffs,
				 hp_state[i], BLOCK_SIZE);
		arm_fir_init_f32(&lp_instance, LOWPASS_FILTER_LEN, lp_coeffs,
				 lp_state[i], BLOCK_SIZE);
	}

	return 0;
}

float32_t filteringEEGData(float32_t input, int channel)
{
	float32_t hp_output, lp_output;

	// Apply highpass filter
	arm_fir_f32(&hp_instance, &input, &hp_output, BLOCK_SIZE);

	// Apply lowpass filter
	arm_fir_f32(&lp_instance, &hp_output, &lp_output, BLOCK_SIZE);

	return lp_output;
}

SYS_INIT(initFilters, APPLICATION, CONFIG_APPLICATION_INIT_PRIORITY);
```

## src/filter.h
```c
#ifndef __FILTER_H__
#define __FILTER_H__

#include <zephyr/kernel.h>
#include <arm_math.h>
#include <arm_const_structs.h>

float32_t filteringEEGData(float32_t input, int channel);

#endif
```

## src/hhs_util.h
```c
#ifndef __APP_GLOBAL_MACRO_H__
#define __APP_GLOBAL_MACRO_H__

/* If the use case is literally just printing the enum name macro */
#define str(x) #x
#define xstr(x) str(x)

/* expansion macro for enum value definition */
#define ENUM_VALUE_SUM(name, assign) name +

/* expansion macro for enum value & assign definition */
#define ENUM_VALUE_ASSIGN(name, assign) name assign,

/* expansion macro for enum to string conversion */
#define ENUM_CASE(name, assign) \
	case name:              \
		return #name;

/* declare the access function and define enum values */
#define DECLARE_ENUM(EnumName, ENUM_DEF)                             \
	enum EnumName {                                              \
		ENUM_DEF(ENUM_VALUE_ASSIGN)                          \
			EnumName##_sum = ENUM_DEF(ENUM_VALUE_SUM) 0, \
	};

/* define the access function names */
#define DEFINE_ENUM(EnumType, ENUM_DEF)                     \
	static const char *enum_to_str(enum EnumType value) \
	{                                                   \
		switch (value) {                            \
			ENUM_DEF(ENUM_CASE)                 \
		default:                                    \
			return ""; /* handle input error */ \
		}                                           \
	}

/* declare & define enum macro */
#define CREATE_ENUM(EnumType, ENUM_DEF)  \
	DECLARE_ENUM(EnumType, ENUM_DEF) \
	DEFINE_ENUM(EnumType, ENUM_DEF)

/* Code for concise writing of if-else statements */
#define CODE_IF_ELSE(enable, code1, code2) \
	if (enable == 1) {                 \
		code1;                     \
	} else if (enable == 0) {          \
		code2;                     \
	}
#endif // __APP_GLOBAL_MACRO_H__
```
